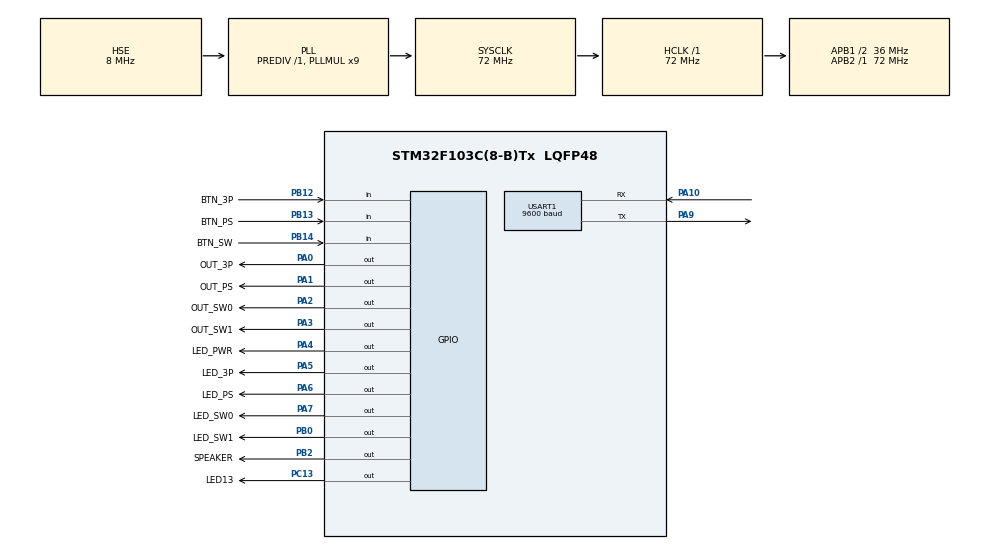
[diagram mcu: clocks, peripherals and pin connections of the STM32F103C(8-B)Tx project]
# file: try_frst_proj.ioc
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Mcu.Family=STM32F1
Mcu.Name=STM32F103C(8-B)Tx
Mcu.Package=LQFP48
NVIC.PriorityGroup=NVIC_PRIORITYGROUP_4
NVIC.USART1_IRQn=true\:0\:0\:false\:false\:true\:true\:true\:true
PA0-WKUP.GPIO_Label=OUT_3P
PA0-WKUP.PinState=GPIO_PIN_RESET
PA0-WKUP.Signal=GPIO_Output
PA1.GPIO_Label=OUT_PS
PA1.Signal=GPIO_Output
PA10.Mode=Asynchronous
PA10.Signal=USART1_RX
PA13.Mode=Serial_Wire
PA13.Signal=SYS_JTMS-SWDIO
PA14.Mode=Serial_Wire
PA14.Signal=SYS_JTCK-SWCLK
PA2.GPIO_Label=OUT_SW0
PA2.Signal=GPIO_Output
PA3.GPIO_Label=OUT_SW1
PA3.Signal=GPIO_Output
PA4.GPIO_Label=LED_PWR
PA4.PinState=GPIO_PIN_SET
PA4.Signal=GPIO_Output
PA5.GPIO_Label=LED_3P
PA5.Signal=GPIO_Output
PA6.GPIO_Label=LED_PS
PA6.Signal=GPIO_Output
PA7.GPIO_Label=LED_SW0
PA7.Signal=GPIO_Output
PA9.Mode=Asynchronous
PA9.Signal=USART1_TX
PB0.GPIO_Label=LED_SW1
PB0.Signal=GPIO_Output
PB12.GPIO_Label=BTN_3P
PB12.GPIO_PuPd=GPIO_PULLDOWN
PB12.Signal=GPIO_Input
PB13.GPIO_Label=BTN_PS
PB13.GPIO_PuPd=GPIO_PULLDOWN
PB13.Signal=GPIO_Input
PB14.GPIO_Label=BTN_SW
PB14.GPIO_PuPd=GPIO_PULLDOWN
PB14.Signal=GPIO_Input
PB2.GPIO_Label=SPEAKER
PB2.Signal=GPIO_Output
PC13-TAMPER-RTC.GPIO_Label=LED13
PC13-TAMPER-RTC.GPIO_PuPd=GPIO_NOPULL
PC13-TAMPER-RTC.PinState=GPIO_PIN_SET
PC13-TAMPER-RTC.Signal=GPIO_Output
PD0-OSC_IN.Mode=HSE-External-Oscillator
PD0-OSC_IN.Signal=RCC_OSC_IN
PD1-OSC_OUT.Mode=HSE-External-Oscillator
PD1-OSC_OUT.Signal=RCC_OSC_OUT
ProjectManager.HeapSize=0x200
ProjectManager.StackSize=0x400
ProjectManager.TargetToolchain=STM32CubeIDE
RCC.AHBFreq_Value=72000000
RCC.APB1CLKDivider=RCC_HCLK_DIV2
RCC.APB1Freq_Value=36000000
RCC.APB1TimFreq_Value=72000000
RCC.APB2Freq_Value=72000000
RCC.APB2TimFreq_Value=72000000
RCC.EnbaleCSS=true
RCC.HCLKFreq_Value=72000000
RCC.PLLMUL=RCC_PLL_MUL9
RCC.PLLSourceVirtual=RCC_PLLSOURCE_HSE
RCC.SYSCLKFreq_VALUE=72000000
RCC.SYSCLKSource=RCC_SYSCLKSOURCE_PLLCLK
RCC.USBFreq_Value=72000000
USART1.BaudRate=9600
USART1.VirtualMode=VM_ASYNC
board=custom

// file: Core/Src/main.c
/* USER CODE BEGIN Header */
/**
  ******************************************************************************
  * @file           : main.c
  * @brief          : Main program body
  ******************************************************************************
  * @attention
  *
  * Copyright (c) 2024 STMicroelectronics.
  * All rights reserved.
  *
  * This software is licensed under terms that can be found in the LICENSE file
  * in the root directory of this software component.
  * If no LICENSE file comes with this software, it is provided AS-IS.
  *
  ******************************************************************************
  */
/* USER CODE END Header */
#include "main.h"

/* USER CODE BEGIN Includes */
#include <stdio.h>
#include <string.h>
/* USER CODE END Includes */

UART_HandleTypeDef huart1;

/* USER CODE BEGIN PV */
volatile uint32_t cnt = 0;
char str[20] = {0};
uint8_t rvData;
uint8_t speakON = 0;
uint8_t btn[3] = {0, 0, 0};
uint8_t outpin[4] = {0, 0, 0, 0};
/* USER CODE END PV */

void SystemClock_Config(void);
static void MX_GPIO_Init(void);
static void MX_USART1_UART_Init(void);
/* USER CODE BEGIN PFP */
void switchBTN(uint8_t* btn);
int readBTN(GPIO_TypeDef* port, uint16_t pin);
void setOut(void);
/* USER CODE END PFP */

int main(void)
{

  /* MCU Configuration--------------------------------------------------------*/

  /* Reset of all peripherals, Initializes the Flash interface and the Systick. */
  HAL_Init();

  /* Configure the system clock */
  SystemClock_Config();

  /* Initialize all configured peripherals */
  MX_GPIO_Init();
  MX_USART1_UART_Init();
  /* USER CODE BEGIN 2 */
  HAL_UART_Receive_IT(&huart1, &rvData, 1);
  /* USER CODE END 2 */

  /* Infinite loop */
  /* USER CODE BEGIN WHILE */
  while (1)
  {
	  //HAL_GPIO_WritePin(LED_PWR_GPIO_Port, LED_PWR_Pin, PinState)

	  if(readBTN(BTN_3P_GPIO_Port, BTN_3P_Pin)) switchBTN(&btn[0]);
	  if(readBTN(BTN_PS_GPIO_Port, BTN_PS_Pin)) switchBTN(&btn[1]);
	  if(readBTN(BTN_SW_GPIO_Port, BTN_SW_Pin)) switchBTN(&btn[2]);

	  setOut();
	  HAL_Delay(50);
    /* USER CODE END WHILE */

  }
}

void SystemClock_Config(void)
{
  RCC_OscInitTypeDef RCC_OscInitStruct = {0};
  RCC_ClkInitTypeDef RCC_ClkInitStruct = {0};

  /** Initializes the RCC Oscillators according to the specified parameters
  * in the RCC_OscInitTypeDef structure.
  */
  RCC_OscInitStruct.OscillatorType = RCC_OSCILLATORTYPE_HSE;
  RCC_OscInitStruct.HSEState = RCC_HSE_ON;
  RCC_OscInitStruct.HSEPredivValue = RCC_HSE_PREDIV_DIV1;
  RCC_OscInitStruct.HSIState = RCC_HSI_ON;
  RCC_OscInitStruct.PLL.PLLState = RCC_PLL_ON;
  RCC_OscInitStruct.PLL.PLLSource = RCC_PLLSOURCE_HSE;
  RCC_OscInitStruct.PLL.PLLMUL = RCC_PLL_MUL9;
  if (HAL_RCC_OscConfig(&RCC_OscInitStruct) != HAL_OK)
  {
    Error_Handler();
  }

  /** Initializes the CPU, AHB and APB buses clocks
  */
  RCC_ClkInitStruct.ClockType = RCC_CLOCKTYPE_HCLK|RCC_CLOCKTYPE_SYSCLK
                              |RCC_CLOCKTYPE_PCLK1|RCC_CLOCKTYPE_PCLK2;
  RCC_ClkInitStruct.SYSCLKSource = RCC_SYSCLKSOURCE_PLLCLK;
  RCC_ClkInitStruct.AHBCLKDivider = RCC_SYSCLK_DIV1;
  RCC_ClkInitStruct.APB1CLKDivider = RCC_HCLK_DIV2;
  RCC_ClkInitStruct.APB2CLKDivider = RCC_HCLK_DIV1;

  if (HAL_RCC_ClockConfig(&RCC_ClkInitStruct, FLASH_LATENCY_2) != HAL_OK)
  {
    Error_Handler();
  }

  /** Enables the Clock Security System
  */
  HAL_RCC_EnableCSS();
}

static void MX_USART1_UART_Init(void)
{

  huart1.Instance = USART1;
  huart1.Init.BaudRate = 9600;
  huart1.Init.WordLength = UART_WORDLENGTH_8B;
  huart1.Init.StopBits = UART_STOPBITS_1;
  huart1.Init.Parity = UART_PARITY_NONE;
  huart1.Init.Mode = UART_MODE_TX_RX;
  huart1.Init.HwFlowCtl = UART_HWCONTROL_NONE;
  huart1.Init.OverSampling = UART_OVERSAMPLING_16;
  if (HAL_UART_Init(&huart1) != HAL_OK)
  {
    Error_Handler();
  }

}

static void MX_GPIO_Init(void)
{
  GPIO_InitTypeDef GPIO_InitStruct = {0};

  /* GPIO Ports Clock Enable */
  __HAL_RCC_GPIOC_CLK_ENABLE();
  __HAL_RCC_GPIOD_CLK_ENABLE();
  __HAL_RCC_GPIOA_CLK_ENABLE();
  __HAL_RCC_GPIOB_CLK_ENABLE();

  /*Configure GPIO pin Output Level */
  HAL_GPIO_WritePin(LED13_GPIO_Port, LED13_Pin, GPIO_PIN_SET);

  /*Configure GPIO pin Output Level */
  HAL_GPIO_WritePin(GPIOA, OUT_3P_Pin|OUT_PS_Pin|OUT_SW0_Pin|OUT_SW1_Pin
                          |LED_3P_Pin|LED_PS_Pin|LED_SW0_Pin, GPIO_PIN_RESET);

  /*Configure GPIO pin Output Level */
  HAL_GPIO_WritePin(LED_PWR_GPIO_Port, LED_PWR_Pin, GPIO_PIN_SET);

  /*Configure GPIO pin Output Level */
  HAL_GPIO_WritePin(GPIOB, LED_SW1_Pin|SPEAKER_Pin, GPIO_PIN_RESET);

  /*Configure GPIO pin : LED13_Pin */
  GPIO_InitStruct.Pin = LED13_Pin;
  GPIO_InitStruct.Mode = GPIO_MODE_OUTPUT_PP;
  GPIO_InitStruct.Pull = GPIO_NOPULL;
  GPIO_InitStruct.Speed = GPIO_SPEED_FREQ_LOW;
  HAL_GPIO_Init(LED13_GPIO_Port, &GPIO_InitStruct);

  /*Configure GPIO pins : OUT_3P_Pin OUT_PS_Pin OUT_SW0_Pin OUT_SW1_Pin
                           LED_PWR_Pin LED_3P_Pin LED_PS_Pin LED_SW0_Pin */
  GPIO_InitStruct.Pin = OUT_3P_Pin|OUT_PS_Pin|OUT_SW0_Pin|OUT_SW1_Pin
                          |LED_PWR_Pin|LED_3P_Pin|LED_PS_Pin|LED_SW0_Pin;
  GPIO_InitStruct.Mode = GPIO_MODE_OUTPUT_PP;
  GPIO_InitStruct.Pull = GPIO_NOPULL;
  GPIO_InitStruct.Speed = GPIO_SPEED_FREQ_LOW;
  HAL_GPIO_Init(GPIOA, &GPIO_InitStruct);

  /*Configure GPIO pins : LED_SW1_Pin SPEAKER_Pin */
  GPIO_InitStruct.Pin = LED_SW1_Pin|SPEAKER_Pin;
  GPIO_InitStruct.Mode = GPIO_MODE_OUTPUT_PP;
  GPIO_InitStruct.Pull = GPIO_NOPULL;
  GPIO_InitStruct.Speed = GPIO_SPEED_FREQ_LOW;
  HAL_GPIO_Init(GPIOB, &GPIO_InitStruct);

  /*Configure GPIO pins : BTN_3P_Pin BTN_PS_Pin BTN_SW_Pin */
  GPIO_InitStruct.Pin = BTN_3P_Pin|BTN_PS_Pin|BTN_SW_Pin;
  GPIO_InitStruct.Mode = GPIO_MODE_INPUT;
  GPIO_InitStruct.Pull = GPIO_PULLDOWN;
  HAL_GPIO_Init(GPIOB, &GPIO_InitStruct);

}

/* USER CODE BEGIN 4 */
int readBTN(GPIO_TypeDef* port, uint16_t pin) // считывает значение кнопки с здаержкой 1сек.// возвр 1 если прожата, 0 если нет
{
	cnt = 0;
	while(HAL_GPIO_ReadPin(port, pin) == 1 && cnt < 850){
		if(pin == BTN_SW_Pin){
			if(btn[0] || btn[1]){
				//speaker
				if(speakON == 0){
					HAL_GPIO_WritePin(SPEAKER_GPIO_Port, SPEAKER_Pin, GPIO_PIN_SET);
					speakON = 1;
				}

				char* msg = "tak nizya\r\n";
				HAL_UART_Transmit(&huart1, (uint8_t*)msg, strlen(msg), HAL_MAX_DELAY);
				HAL_Delay(100);
				return 0;
			}
		}
		cnt++;
		HAL_Delay(1);
	}
	if(speakON){
		HAL_GPIO_WritePin(SPEAKER_GPIO_Port, SPEAKER_Pin, GPIO_PIN_RESET);
		speakON = 0;
	}

	if(cnt > 800){
		HAL_GPIO_TogglePin(LED13_GPIO_Port, LED13_Pin);
		return 1;
	}
	return 0;
}

void setOut(void)  //ФОРМ�?РОВАН�?Е ВЫХОДНОГО С�?ГНАЛА
{
	if(btn[0]){
		HAL_GPIO_WritePin(OUT_3P_GPIO_Port, OUT_3P_Pin, GPIO_PIN_SET);
		HAL_GPIO_WritePin(LED_3P_GPIO_Port, LED_3P_Pin, GPIO_PIN_SET);
		outpin[0] = 1;
	}

	else{
		HAL_GPIO_WritePin(OUT_3P_GPIO_Port, OUT_3P_Pin, GPIO_PIN_RESET);
		HAL_GPIO_WritePin(LED_3P_GPIO_Port, LED_3P_Pin, GPIO_PIN_RESET);
		outpin[0] = 0;
	}
	if(btn[1]){
		HAL_GPIO_WritePin(OUT_PS_GPIO_Port, OUT_PS_Pin, GPIO_PIN_SET);
		HAL_GPIO_WritePin(LED_PS_GPIO_Port, LED_PS_Pin, GPIO_PIN_SET);
		outpin[1] = 1;
	}
	else{
		HAL_GPIO_WritePin(OUT_PS_GPIO_Port, OUT_PS_Pin, GPIO_PIN_RESET);
		HAL_GPIO_WritePin(LED_PS_GPIO_Port, LED_PS_Pin, GPIO_PIN_RESET);
		outpin[1] = 0;
	}
	if(btn[2]){
		HAL_GPIO_WritePin(OUT_SW0_GPIO_Port, OUT_SW0_Pin, GPIO_PIN_SET);
		HAL_GPIO_WritePin(OUT_SW1_GPIO_Port, OUT_SW1_Pin, GPIO_PIN_SET);
		HAL_GPIO_WritePin(LED_SW0_GPIO_Port, LED_SW0_Pin, GPIO_PIN_RESET);
		HAL_GPIO_WritePin(LED_SW1_GPIO_Port, LED_SW1_Pin, GPIO_PIN_SET);
		outpin[2] = 1;
		outpin[3] = 1;
	}
	else{
		HAL_GPIO_WritePin(OUT_SW0_GPIO_Port, OUT_SW0_Pin, GPIO_PIN_RESET);
		HAL_GPIO_WritePin(OUT_SW1_GPIO_Port, OUT_SW1_Pin, GPIO_PIN_RESET);
		HAL_GPIO_WritePin(LED_SW0_GPIO_Port, LED_SW0_Pin, GPIO_PIN_SET);
		HAL_GPIO_WritePin(LED_SW1_GPIO_Port, LED_SW1_Pin, GPIO_PIN_SET);
		outpin[2] = 0;
		outpin[3] = 0;
	}
}

void switchBTN(uint8_t* btn)// МЕНЯЕТ ЗНАЧЕН�?Е КНОПК�? НА ПРОТ�?ВОПОЛОЖНОЕ 1->0 0->1
{
	if(*btn)
		*btn = 0;
	else
		*btn = 1;
}
void HAL_UART_RxCpltCallback(UART_HandleTypeDef *huart) { //ВЫВОД В КОНСОЛЬ ДО ЗАПРОСУ 1, 2
	if (huart->Instance == USART1) {
		char* sep = "-----------------------\r\n";
		if (rvData == '1') {
			HAL_UART_Transmit(&huart1, (uint8_t*)sep, strlen(sep), HAL_MAX_DELAY);
			for(int i = 0; i < 3; i++){
				sprintf(str, "BTN%d VAL = %d\r\n", i+1, btn[i]);
				HAL_UART_Transmit(&huart1, (uint8_t *)str, strlen(str), HAL_MAX_DELAY);
			}
			HAL_UART_Transmit(&huart1, (uint8_t*)sep, strlen(sep), HAL_MAX_DELAY);
		}
		else if (rvData == '2') {
			HAL_UART_Transmit(&huart1, (uint8_t*)sep, strlen(sep), HAL_MAX_DELAY);
			for(int i = 0; i < 4; i++){
				sprintf(str, "OUT%d VAL = %d\r\n", i+1, outpin[i]);
				HAL_UART_Transmit(&huart1, (uint8_t *)str, strlen(str), HAL_MAX_DELAY);
			}
			HAL_UART_Transmit(&huart1, (uint8_t*)sep, strlen(sep), HAL_MAX_DELAY);
		}
		HAL_UART_Receive_IT(huart, &rvData, 1);
	}
}
/* USER CODE END 4 */

void Error_Handler(void)
{
  __disable_irq();
  while (1)
  {
  }
}
